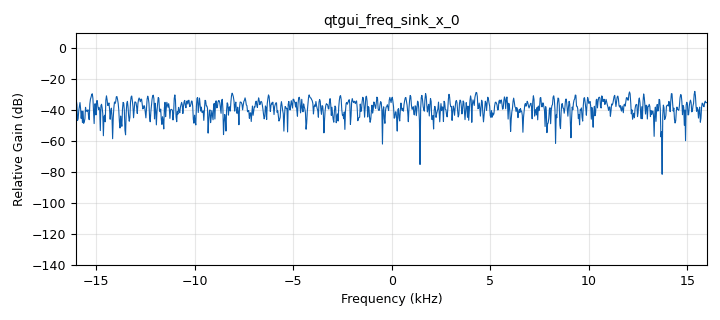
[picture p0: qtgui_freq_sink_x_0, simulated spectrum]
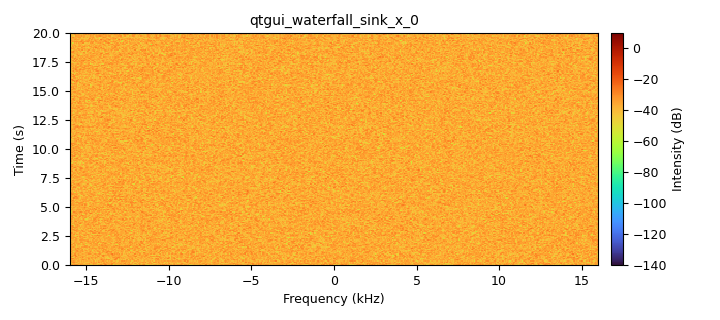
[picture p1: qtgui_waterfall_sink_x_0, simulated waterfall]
<?xml version='1.0' encoding='utf-8'?>
<?grc format='1' created='3.7.10'?>
<flow_graph>
<block>
<key>options</key>
<param><key>id</key><value>top_block</value></param>
<param><key>generate_options</key><value>qt_gui</value></param>
</block>
<block>
<key>variable</key>
<param><key>id</key><value>samp_rate</value></param>
<param><key>value</key><value>32000</value></param>
</block>
<block>
<key>analog_noise_source_x</key>
<param><key>id</key><value>analog_noise_source_x_0</value></param>
<param><key>amp</key><value>1</value></param>
<param><key>noise_type</key><value>analog.GR_GAUSSIAN</value></param>
<param><key>type</key><value>complex</value></param>
<param><key>seed</key><value>0</value></param>
</block>
<block>
<key>blocks_throttle</key>
<param><key>id</key><value>blocks_throttle_0</value></param>
<param><key>samples_per_second</key><value>samp_rate</value></param>
<param><key>type</key><value>complex</value></param>
</block>
<block>
<key>qtgui_freq_sink_x</key>
<param><key>id</key><value>qtgui_freq_sink_x_0</value></param>
<param><key>bw</key><value>samp_rate</value></param>
<param><key>fc</key><value>0</value></param>
<param><key>fftsize</key><value>1024</value></param>
<param><key>showports</key><value>True</value></param>
<param><key>type</key><value>complex</value></param>
<param><key>wintype</key><value>firdes.WIN_BLACKMAN_hARRIS</value></param>
</block>
<block>
<key>qtgui_waterfall_sink_x</key>
<param><key>id</key><value>qtgui_waterfall_sink_x_0</value></param>
<param><key>bw</key><value>samp_rate</value></param>
<param><key>fc</key><value>0</value></param>
<param><key>fftsize</key><value>1024</value></param>
<param><key>showports</key><value>True</value></param>
<param><key>type</key><value>complex</value></param>
<param><key>wintype</key><value>firdes.WIN_BLACKMAN_hARRIS</value></param>
</block>
<connection><source_block_id>analog_noise_source_x_0</source_block_id><sink_block_id>blocks_throttle_0</sink_block_id><source_key>0</source_key><sink_key>0</sink_key></connection>
<connection><source_block_id>blocks_throttle_0</source_block_id><sink_block_id>qtgui_freq_sink_x_0</sink_block_id><source_key>0</source_key><sink_key>0</sink_key></connection>
<connection><source_block_id>blocks_throttle_0</source_block_id><sink_block_id>qtgui_waterfall_sink_x_0</sink_block_id><source_key>0</source_key><sink_key>0</sink_key></connection>
</flow_graph>
